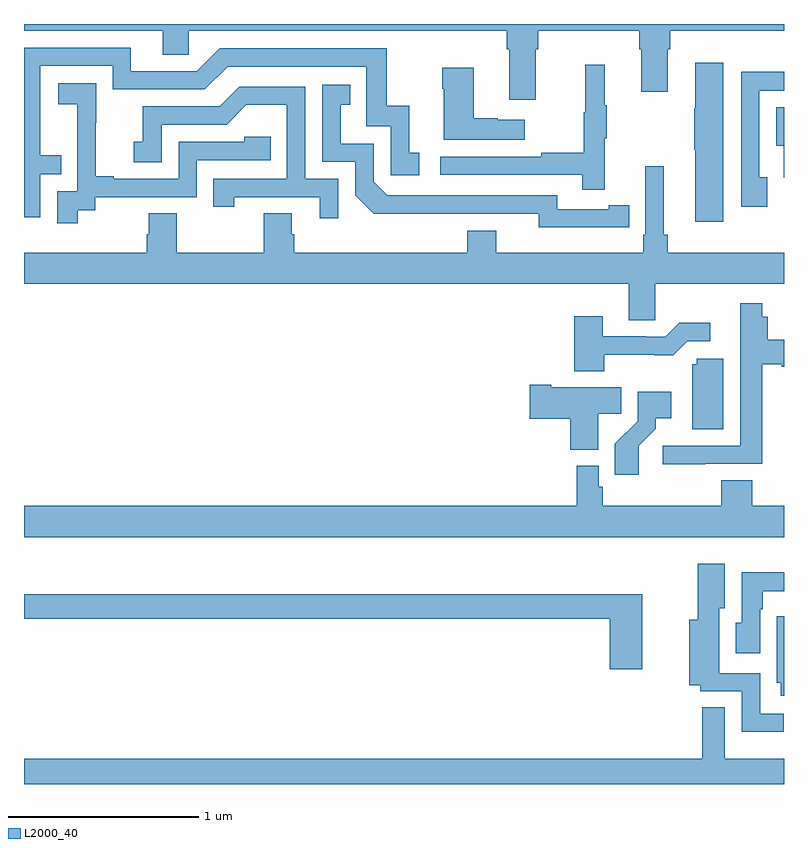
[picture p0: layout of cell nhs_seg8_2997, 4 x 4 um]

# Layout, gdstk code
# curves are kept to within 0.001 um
import gdstk
lib = gdstk.Library(unit=1e-6, precision=1e-09)
def P(c, l, *ps):  # polygons
    for p in ps: c.add(gdstk.Polygon(p, *l))
L2000_40 = (2000, 40)

nhs_seg8_2997 = lib.new_cell('nhs_seg8_2997')
P(nhs_seg8_2997, L2000_40, [(299,1085.864),(299.729,1085.864),(299.729,1085.737),(299.868,1085.737),(299.868,1085.864),(301.541,1085.864),(301.541,1085.768),(301.553,1085.768),(301.553,1085.502),(301.693,1085.502),(301.693,1085.768),(301.706,1085.768),(301.706,1085.864),(302.237,1085.864),(302.237,1085.768),(302.249,1085.768),(302.249,1085.544),(302.389,1085.544),(302.389,1085.768),(302.402,1085.768),(302.402,1085.864),(303,1085.864),(303,1085.9),(299,1085.9)],
  [(299.085,1085.109),(299.195,1085.109),(299.195,1085.21),(299.085,1085.21),(299.085,1085.679),(299.466,1085.679),(299.466,1085.556),(299.952,1085.556),(300.072,1085.676),(300.801,1085.676),(300.801,1085.361),(300.93,1085.361),(300.93,1085.103),(301.081,1085.103),(301.081,1085.223),(301.028,1085.223),(301.028,1085.47),(300.91,1085.47),(300.91,1085.772),(300.03,1085.772),(299.91,1085.652),(299.563,1085.652),(299.563,1085.775),(299,1085.775),(299,1084.884),(299.085,1084.884)],
  [(302.68,1085.695),(302.534,1085.695),(302.534,1085.456),(302.527,1085.456),(302.527,1085.239),(302.534,1085.239),(302.534,1084.86),(302.68,1084.86)],
  [(302.057,1085.299),(302.068,1085.299),(302.068,1085.473),(302.057,1085.473),(302.057,1085.686),(301.954,1085.686),(301.954,1085.436),(301.947,1085.436),(301.947,1085.222),(301.723,1085.222),(301.723,1085.202),(301.191,1085.202),(301.191,1085.106),(301.939,1085.106),(301.939,1085.028),(302.057,1085.028)],
  [(301.636,1085.395),(301.493,1085.395),(301.493,1085.405),(301.366,1085.405),(301.366,1085.671),(301.201,1085.671),(301.201,1085.558),(301.208,1085.558),(301.208,1085.291),(301.636,1085.291)],
  [(302.911,1085.094),(302.871,1085.094),(302.871,1085.55),(303,1085.55),(303,1085.648),(302.775,1085.648),(302.775,1084.938),(302.911,1084.938)],
  [(299.284,1084.921),(299.376,1084.921),(299.376,1084.989),(299.91,1084.989),(299.91,1085.184),(300.299,1085.184),(300.299,1085.307),(300.159,1085.307),(300.159,1085.28),(299.814,1085.28),(299.814,1085.085),(299.473,1085.085),(299.473,1085.098),(299.378,1085.098),(299.378,1085.381),(299.379,1085.381),(299.379,1085.587),(299.181,1085.587),(299.181,1085.477),(299.279,1085.477),(299.279,1085.249),(299.28,1085.249),(299.28,1085.019),(299.175,1085.019),(299.175,1084.851),(299.284,1084.851)],
  [(302.078,1084.83),(302.186,1084.83),(302.186,1084.946),(302.078,1084.946),(302.078,1084.926),(301.806,1084.926),(301.806,1084.998),(300.912,1084.998),(300.84,1085.07),(300.84,1085.271),(300.667,1085.271),(300.667,1085.475),(300.716,1085.475),(300.716,1085.581),(300.57,1085.581),(300.57,1085.175),(300.744,1085.175),(300.744,1084.998),(300.842,1084.901),(301.71,1084.902),(301.71,1084.829)],
  [(300.654,1085.085),(300.48,1085.085),(300.48,1085.571),(300.134,1085.571),(300.029,1085.466),(299.626,1085.466),(299.626,1085.281),(299.577,1085.281),(299.577,1085.172),(299.724,1085.172),(299.724,1085.37),(300.066,1085.37),(300.17,1085.474),(300.384,1085.474),(300.384,1085.085),(299.995,1085.085),(299.995,1084.938),(300.106,1084.938),(300.106,1084.989),(300.557,1084.989),(300.557,1084.878),(300.654,1084.878)],
  [(303,1085.461),(302.96,1085.461),(302.96,1085.258),(302.999,1085.258),(302.999,1085.09),(303,1085.09)],
  [(302.322,1084.532),(303,1084.532),(303,1084.696),(302.387,1084.696),(302.387,1084.792),(302.368,1084.792),(302.368,1085.152),(302.271,1085.152),(302.271,1084.792),(302.258,1084.792),(302.258,1084.696),(301.486,1084.696),(301.486,1084.813),(301.334,1084.813),(301.334,1084.696),(300.422,1084.696),(300.422,1084.794),(300.409,1084.794),(300.409,1084.904),(300.262,1084.904),(300.262,1084.696),(299.805,1084.696),(299.805,1084.904),(299.657,1084.904),(299.657,1084.794),(299.645,1084.794),(299.645,1084.696),(299,1084.696),(299,1084.532),(302.183,1084.532),(302.183,1084.342),(302.322,1084.342)],
  [(302.585,1083.585),(302.885,1083.585),(302.885,1084.109),(302.988,1084.109),(302.988,1084.097),(303,1084.097),(303,1084.239),(302.915,1084.239),(302.915,1084.36),(302.885,1084.36),(302.885,1084.429),(302.769,1084.429),(302.769,1083.681),(302.361,1083.681),(302.361,1083.583),(302.585,1083.583)],
  [(302.055,1084.158),(302.417,1084.157),(302.49,1084.23),(302.611,1084.23),(302.611,1084.327),(302.449,1084.327),(302.376,1084.254),(302.276,1084.254),(302.276,1084.257),(302.047,1084.257),(302.047,1084.363),(301.895,1084.363),(301.895,1084.073),(302.055,1084.073)],
  [(302.68,1084.137),(302.541,1084.137),(302.541,1084.11),(302.516,1084.11),(302.516,1083.766),(302.68,1083.766)],
  [(302.023,1083.85),(302.144,1083.85),(302.144,1083.988),(301.774,1083.988),(301.774,1084.001),(301.662,1084.001),(301.662,1083.823),(301.874,1083.823),(301.874,1083.659),(302.023,1083.659)],
  [(302.236,1083.679),(302.326,1083.769),(302.326,1083.824),(302.407,1083.824),(302.407,1083.964),(302.229,1083.964),(302.229,1083.809),(302.11,1083.69),(302.11,1083.528),(302.236,1083.528)],
  [(303,1083.364),(302.834,1083.364),(302.834,1083.5),(302.669,1083.5),(302.669,1083.364),(302.045,1083.364),(302.045,1083.465),(302.025,1083.465),(302.025,1083.574),(301.909,1083.574),(301.909,1083.364),(299,1083.364),(299,1083.2),(303,1083.2)],
  [(302.998,1082.271),(302.874,1082.271),(302.874,1082.484),(302.659,1082.484),(302.659,1082.825),(302.689,1082.825),(302.689,1083.058),(302.546,1083.058),(302.546,1082.764),(302.501,1082.764),(302.501,1082.42),(302.558,1082.42),(302.558,1082.388),(302.778,1082.388),(302.778,1082.174),(302.998,1082.174)],
  [(302.874,1082.819),(302.887,1082.819),(302.887,1082.915),(303,1082.915),(303,1083.012),(302.999,1083.012),(302.999,1083.014),(302.778,1083.014),(302.778,1082.748),(302.747,1082.748),(302.747,1082.589),(302.874,1082.589)],
  [(302.254,1082.899),(299,1082.899),(299,1082.77),(302.084,1082.77),(302.084,1082.505),(302.254,1082.505)],
  [(303,1082.782),(302.963,1082.782),(302.963,1082.433),(302.984,1082.433),(302.984,1082.364),(303,1082.364)],
  [(299,1081.9),(303,1081.9),(303,1082.032),(302.689,1082.032),(302.689,1082.303),(302.571,1082.303),(302.571,1082.032),(299,1082.032)])

lib.write_gds('nhs_seg8_2997.gds')
